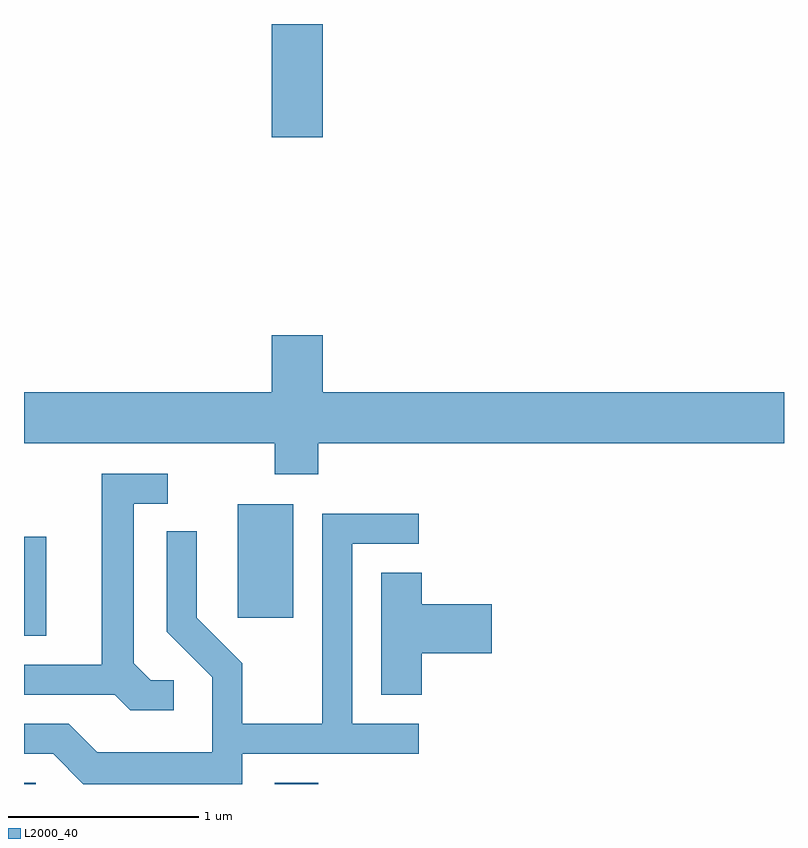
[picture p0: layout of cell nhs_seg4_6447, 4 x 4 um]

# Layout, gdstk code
import gdstk
lib = gdstk.Library(unit=1e-6, precision=1e-09)
def R(c, l, rs):  # rectangles x0, y0, x1, y1
    for r in rs: c.add(gdstk.rectangle(r[:2], r[2:], *l))
def P(c, l, *ps):  # polygons
    for p in ps: c.add(gdstk.Polygon(p, *l))
L2000_40 = (2000, 40)

nhs_seg4_6447 = lib.new_cell('nhs_seg4_6447')
R(nhs_seg4_6447, L2000_40, [(373.611,1363.982,373.674,1363.989), (374.931,1363.982,375.159,1363.989), (373.611,1364.761,373.729,1365.284), (374.736,1364.856,375.029,1365.454), (374.916,1367.386,375.184,1367.982)])
P(nhs_seg4_6447, L2000_40, [(375.159,1365.776),(377.611,1365.776),(377.611,1366.044),(375.184,1366.044),(375.184,1366.344),(374.916,1366.344),(374.916,1366.044),(373.611,1366.044),(373.611,1365.776),(374.931,1365.776),(374.931,1365.611),(375.159,1365.611)],
  [(374.398,1364.529),(374.277,1364.529),(374.189,1364.617),(374.189,1365.456),(374.368,1365.456),(374.368,1365.614),(374.021,1365.614),(374.021,1364.609),(373.611,1364.609),(373.611,1364.451),(374.089,1364.451),(374.169,1364.371),(374.398,1364.371)],
  [(374.759,1364.141),(375.688,1364.141),(375.688,1364.299),(375.339,1364.299),(375.339,1365.246),(375.688,1365.246),(375.688,1365.404),(375.181,1365.404),(375.181,1364.299),(374.759,1364.299),(374.759,1364.617),(374.519,1364.857),(374.519,1365.313),(374.361,1365.313),(374.361,1364.784),(374.601,1364.544),(374.601,1364.149),(373.997,1364.149),(373.847,1364.299),(373.611,1364.299),(373.611,1364.141),(373.764,1364.141),(373.923,1363.982),(374.759,1363.982)],
  [(375.704,1364.671),(376.074,1364.671),(376.074,1364.929),(375.704,1364.929),(375.704,1365.094),(375.491,1365.094),(375.491,1364.451),(375.704,1364.451)])

lib.write_gds('nhs_seg4_6447.gds')
